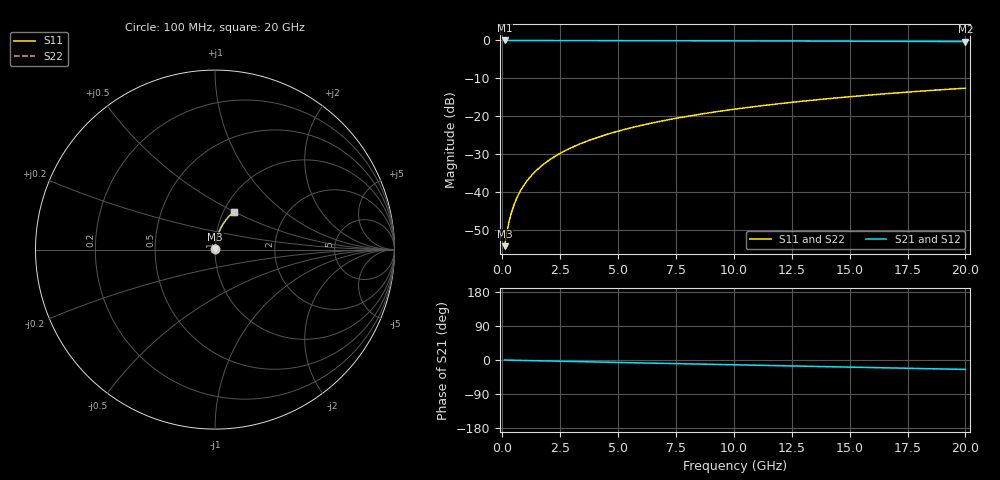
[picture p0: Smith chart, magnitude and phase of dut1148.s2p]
! Touchstone file exported from HFSS 2026.1.0
!  File:  C:/ffzhzh/LocalFiles/Ansys_Project_Files/temp_train_TMRDL_1148_1783162076_51560.aedt
!  Generated:  06:49:11 PM Jul  4, 2026
!  Design:  TMRDL
!  Project:  temp_train_TMRDL_1148_1783162076_51560
! Variables:
!  h_bsmrdl = 2um
!  h_ox = 20um
!  h_rdl = 5um
!  h_sub = 80um
!  h_tmrdl = 4.92um
!  h_tsv = 80um
!  h_via = 3um
!  l_bsmrdl = 300um
!  l_sub = 742.22um
!  l_tmrdl = 342.22um
!  m_sub = 200um
!  pitch = 45.54um
!  r_tsv = 6um
!  s_tmrdl = 10um
!  w_bsmrdl = 18um
!  w_sub = 500um
!  w_tmrdl = 20.34um
!  x_tsv_center1 = 352.39um
!  x_tsv_center2 = 670.39um
!  x_tsv_center3 = 1032.95um
!  x_tsv_center4 = 1350.95um
!  x_tsv_center5 = 1713.51um
!  x_tsv_center6 = 2031.51um
# GHz S MA R 50.000000
! Terminal data exported
! Port[1] = TM_RDL1_1_T1
! Port[2] = TM_RDL1_1_T2
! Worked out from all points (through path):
!   200 points, 100 MHz to 20 GHz, reference 50 ohm
!   highest |S21| = -0.01 dB at 100 MHz (marker M1); lowest = -0.3 dB at 20 GHz (marker M2)
!   group delay of S21, straight-line fit = 3.44 ps
!   lowest |S11| = -54.1 dB at 100 MHz (marker M3), VSWR 1.00, Z = 50.1 + j0.142 ohm
!   |S11| at or under -10 dB: start of sweep to end of sweep
!   |S22| runs from -54.1 to -12.6 dB; largest |S21 - S12| = 4e-15
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0.1  0.001967 45.9  0.9986 -0.1  0.9986 -0.1  0.001967 45.9
! Gamma 0 0 0 0
! Port Impedance 50 0 50 0
0.2  0.003042 62.5  0.9986 -0.3  0.9986 -0.3  0.003043 62.5
0.3  0.004256 70.3  0.9985 -0.4  0.9985 -0.4  0.004256 70.3
0.4  0.005521 74.5  0.9984 -0.5  0.9984 -0.5  0.005521 74.5
0.5  0.006809 77.1  0.9984 -0.7  0.9984 -0.7  0.006808 77.1
0.6  0.008107 78.8  0.9983 -0.8  0.9983 -0.8  0.008107 78.8
0.8  0.01072 80.8  0.9983 -1.1  0.9983 -1.1  0.01072 80.8
1.1  0.01464 82.2  0.9981 -1.4  0.9981 -1.4  0.01464 82.2
1.3  0.01725 82.7  0.998 -1.7  0.998 -1.7  0.01725 82.7
1.5  0.01985 82.9  0.9979 -2.0  0.9979 -2.0  0.01984 82.9
1.8  0.02373 83.1  0.9977 -2.3  0.9977 -2.3  0.02373 83.1
2.1  0.02759 83.0  0.9975 -2.7  0.9975 -2.7  0.02759 83.0
2.7  0.03525 82.7  0.9971 -3.5  0.9971 -3.5  0.03525 82.7
3.5  0.04535 82.1  0.9963 -4.5  0.9963 -4.5  0.04535 82.1
4.2  0.05411 81.4  0.9955 -5.4  0.9955 -5.4  0.05411 81.4
5  0.06403 80.6  0.9946 -6.4  0.9946 -6.4  0.06403 80.6
6.8  0.08605 78.6  0.9922 -8.7  0.9922 -8.7  0.08605 78.6
8.3  0.1041 76.9  0.99 -10.6  0.99 -10.6  0.1041 76.9
10.1  0.1255 74.9  0.9871 -12.8  0.9871 -12.8  0.1255 74.9
13.4  0.1636 71.1  0.9807 -16.9  0.9807 -16.9  0.1636 71.1
16.7  0.2004 67.3  0.9733 -20.9  0.9733 -20.9  0.2004 67.3
20  0.2355 63.5  0.965 -24.8  0.965 -24.8  0.2355 63.5
